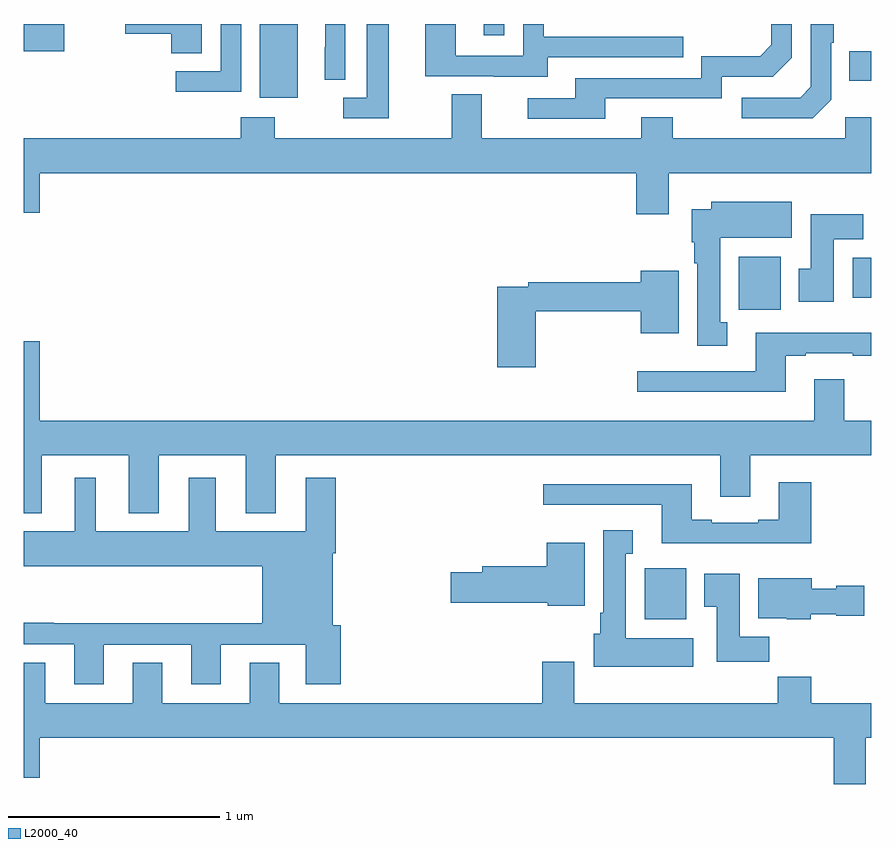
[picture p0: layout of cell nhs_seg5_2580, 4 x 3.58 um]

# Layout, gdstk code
import gdstk
lib = gdstk.Library(unit=1e-6, precision=1e-09)
def R(c, l, rs):  # rectangles x0, y0, x1, y1
    for r in rs: c.add(gdstk.rectangle(r[:2], r[2:], *l))
def P(c, l, *ps):  # polygons
    for p in ps: c.add(gdstk.Polygon(p, *l))
L2000_40 = (2000, 40)

nhs_seg5_2580 = lib.new_cell('nhs_seg5_2580')
R(nhs_seg5_2580, L2000_40, [(263.93,851.99,264.127,852.232), (264.375,853.452,264.571,853.702), (264.911,853.508,265,853.696), (262.115,854.45,262.294,854.799), (264.895,854.531,265,854.671), (261,854.671,261.193,854.799), (263.171,854.745,263.268,854.799)])
P(nhs_seg5_2580, L2000_40, [(262.723,854.799),(262.619,854.799),(262.619,854.451),(262.509,854.451),(262.509,854.355),(262.723,854.355)],
  [(263.473,854.643),(264.113,854.643),(264.113,854.739),(263.454,854.739),(263.454,854.799),(263.358,854.799),(263.358,854.649),(263.04,854.649),(263.04,854.799),(262.895,854.799),(262.895,854.553),(263.219,854.553),(263.219,854.549),(263.473,854.549)],
  [(263.743,854.448),(264.294,854.448),(264.294,854.55),(264.534,854.55),(264.624,854.64),(264.624,854.799),(264.528,854.799),(264.528,854.7),(264.475,854.647),(264.198,854.647),(264.198,854.544),(263.603,854.544),(263.603,854.448),(263.379,854.448),(263.379,854.352),(263.743,854.352)],
  [(261.841,854.799),(261.48,854.799),(261.48,854.753),(261.698,854.753),(261.698,854.662),(261.841,854.662)],
  [(262.518,854.799),(262.424,854.799),(262.424,854.69),(262.422,854.69),(262.422,854.536),(262.518,854.536)],
  [(264.81,854.442),(264.81,854.711),(264.823,854.711),(264.823,854.799),(264.714,854.799),(264.714,854.502),(264.663,854.451),(264.387,854.451),(264.387,854.355),(264.723,854.355)],
  [(262.026,854.799),(261.93,854.799),(261.93,854.577),(261.717,854.577),(261.717,854.479),(262.026,854.479)],
  [(264.043,854.096),(265,854.096),(265,854.359),(264.876,854.359),(264.876,854.26),(264.063,854.26),(264.063,854.359),(263.915,854.359),(263.915,854.26),(263.161,854.26),(263.161,854.468),(263.021,854.468),(263.021,854.26),(262.185,854.26),(262.185,854.359),(262.025,854.359),(262.025,854.26),(261,854.26),(261,853.908),(261.076,853.908),(261.076,854.096),(263.891,854.096),(263.891,853.902),(264.043,853.902)],
  [(264.319,853.393),(264.286,853.393),(264.286,853.79),(264.625,853.79),(264.625,853.96),(264.245,853.96),(264.245,853.924),(264.152,853.924),(264.152,853.77),(264.164,853.77),(264.164,853.67),(264.179,853.67),(264.179,853.281),(264.319,853.281)],
  [(264.823,853.784),(264.962,853.784),(264.962,853.902),(264.713,853.902),(264.713,853.644),(264.656,853.644),(264.656,853.488),(264.823,853.488)],
  [(263.417,853.444),(263.912,853.444),(263.912,853.34),(264.091,853.34),(264.091,853.636),(263.912,853.636),(263.912,853.58),(263.38,853.58),(263.38,853.56),(263.234,853.56),(263.234,853.179),(263.417,853.179)],
  [(264.595,853.233),(264.691,853.233),(264.691,853.245),(264.911,853.245),(264.911,853.233),(265,853.233),(265,853.342),(264.455,853.342),(264.455,853.161),(263.895,853.161),(263.895,853.064),(264.595,853.064)],
  [(261.085,852.764),(261.497,852.764),(261.497,852.491),(261.637,852.491),(261.637,852.764),(262.049,852.764),(262.049,852.491),(262.189,852.491),(262.189,852.764),(264.287,852.764),(264.287,852.57),(264.427,852.57),(264.427,852.764),(265,852.764),(265,852.928),(264.871,852.928),(264.871,853.123),(264.731,853.123),(264.731,852.928),(261.076,852.928),(261.076,853.303),(261,853.303),(261,852.491),(261.085,852.491)],
  [(261.379,851.871),(261.791,851.871),(261.791,851.685),(261.931,851.685),(261.931,851.871),(262.331,851.871),(262.331,851.685),(262.496,851.685),(262.496,851.964),(262.459,851.964),(262.459,852.302),(262.472,852.302),(262.472,852.658),(262.331,852.658),(262.331,852.406),(261.907,852.406),(261.907,852.658),(261.779,852.658),(261.779,852.406),(261.34,852.406),(261.34,852.658),(261.242,852.658),(261.242,852.406),(261,852.406),(261,852.242),(262.127,852.242),(262.127,851.972),(261.143,851.972),(261.143,851.975),(261,851.975),(261,851.874),(261.239,851.874),(261.239,851.685),(261.379,851.685)],
  [(264.716,852.637),(264.563,852.637),(264.563,852.46),(264.467,852.46),(264.467,852.447),(264.247,852.447),(264.247,852.46),(264.151,852.46),(264.151,852.628),(263.451,852.628),(263.451,852.531),(264.011,852.531),(264.011,852.35),(264.716,852.35)],
  [(264.16,851.902),(263.842,851.902),(263.842,852.299),(263.875,852.299),(263.875,852.412),(263.735,852.412),(263.735,852.022),(263.72,852.022),(263.72,851.922),(263.69,851.922),(263.69,851.768),(264.16,851.768)],
  [(263.647,852.352),(263.468,852.352),(263.468,852.242),(263.165,852.242),(263.165,852.212),(263.016,852.212),(263.016,852.07),(263.472,852.07),(263.472,852.056),(263.647,852.056)],
  [(264.518,851.908),(264.379,851.908),(264.379,852.205),(264.212,852.205),(264.212,852.049),(264.269,852.049),(264.269,851.79),(264.518,851.79)],
  [(264.714,852.014),(264.834,852.014),(264.834,852.007),(264.967,852.007),(264.967,852.149),(264.834,852.149),(264.834,852.136),(264.718,852.136),(264.718,852.184),(264.467,852.184),(264.467,851.996),(264.6,851.996),(264.6,851.99),(264.714,851.99)],
  [(264.973,851.432),(265,851.432),(265,851.596),(264.716,851.596),(264.716,851.72),(264.559,851.72),(264.559,851.596),(263.599,851.596),(263.599,851.791),(263.447,851.791),(263.447,851.596),(262.207,851.596),(262.207,851.786),(262.067,851.786),(262.067,851.596),(261.655,851.596),(261.655,851.786),(261.515,851.786),(261.515,851.596),(261.103,851.596),(261.103,851.786),(261,851.786),(261,851.244),(261.076,851.244),(261.076,851.432),(264.821,851.432),(264.821,851.214),(264.973,851.214)])

lib.write_gds('nhs_seg5_2580.gds')
